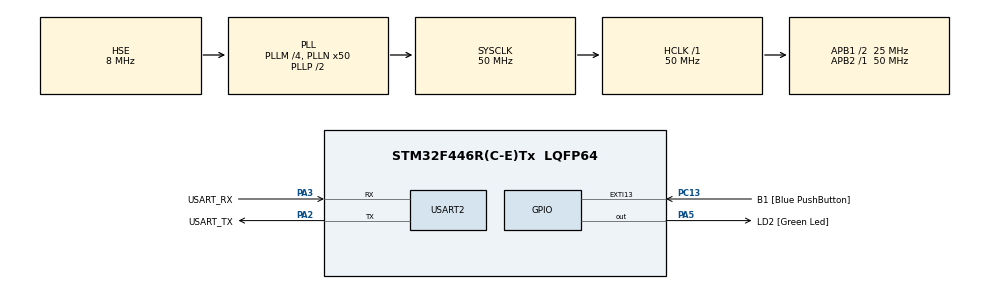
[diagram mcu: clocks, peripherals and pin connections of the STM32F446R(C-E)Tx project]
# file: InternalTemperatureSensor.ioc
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ADC1.Channel-0\#ChannelRegularConversion=ADC_CHANNEL_TEMPSENSOR
ADC1.ClockPrescaler=ADC_CLOCK_SYNC_PCLK_DIV4
ADC1.ContinuousConvMode=ENABLE
ADC1.DMAContinuousRequests=DISABLE
ADC1.NbrOfConversionFlag=1
ADC1.Rank-0\#ChannelRegularConversion=1
ADC1.SamplingTime-0\#ChannelRegularConversion=ADC_SAMPLETIME_112CYCLES
ADC1.master=1
Mcu.Family=STM32F4
Mcu.Name=STM32F446R(C-E)Tx
Mcu.Package=LQFP64
NVIC.ADC_IRQn=true\:0\:0\:false\:false\:true\:true\:true
NVIC.PriorityGroup=NVIC_PRIORITYGROUP_0
PA13.GPIO_Label=TMS
PA13.Mode=Serial_Wire
PA13.Signal=SYS_JTMS-SWDIO
PA14.GPIO_Label=TCK
PA14.Mode=Serial_Wire
PA14.Signal=SYS_JTCK-SWCLK
PA2.GPIO_Label=USART_TX
PA2.Mode=Asynchronous
PA2.Signal=USART2_TX
PA3.GPIO_Label=USART_RX
PA3.Mode=Asynchronous
PA3.Signal=USART2_RX
PA5.GPIO_Label=LD2 [Green Led]
PA5.Signal=GPIO_Output
PB3.GPIO_Label=SWO
PB3.Signal=SYS_JTDO-SWO
PC13.GPIO_Label=B1 [Blue PushButton]
PC13.GPIO_ModeDefaultEXTI=GPIO_MODE_IT_FALLING
PC13.Signal=GPXTI13
PC14-OSC32_IN.Mode=LSE-External-Oscillator
PC14-OSC32_IN.Signal=RCC_OSC32_IN
PC15-OSC32_OUT.Mode=LSE-External-Oscillator
PC15-OSC32_OUT.Signal=RCC_OSC32_OUT
PH0-OSC_IN.Mode=HSE-External-Oscillator
PH0-OSC_IN.Signal=RCC_OSC_IN
PH1-OSC_OUT.Mode=HSE-External-Oscillator
PH1-OSC_OUT.Signal=RCC_OSC_OUT
ProjectManager.HeapSize=0x200
ProjectManager.StackSize=0x400
ProjectManager.TargetToolchain=STM32CubeIDE
RCC.48MHZClocksFreq_Value=84000000
RCC.AHBFreq_Value=50000000
RCC.APB1CLKDivider=RCC_HCLK_DIV2
RCC.APB1Freq_Value=25000000
RCC.APB1TimFreq_Value=50000000
RCC.APB2Freq_Value=50000000
RCC.APB2TimFreq_Value=50000000
RCC.CortexFreq_Value=50000000
RCC.FLatency-AdvancedSettings=FLASH_LATENCY_1
RCC.HCLKFreq_Value=50000000
RCC.HSE_VALUE=8000000
RCC.HSI_VALUE=16000000
RCC.PLLM=4
RCC.PLLN=50
RCC.PLLSourceVirtual=RCC_PLLSOURCE_HSE
RCC.SYSCLKFreq_VALUE=50000000
RCC.SYSCLKSource=RCC_SYSCLKSOURCE_PLLCLK
RCC.USBFreq_Value=50000000
RCC.VCOOutputFreq_Value=100000000
USART2.VirtualMode=VM_ASYNC
VP_ADC1_TempSens_Input.Mode=IN-TempSens
board=NUCLEO-F446RE

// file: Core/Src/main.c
/* USER CODE BEGIN Header */
/**
  ******************************************************************************
  * @file           : main.c
  * @brief          : Main program body
  ******************************************************************************
  * @attention
  *
  * <h2><center>&copy; Copyright (c) 2021 STMicroelectronics.
  * All rights reserved.</center></h2>
  *
  * This software component is licensed by ST under BSD 3-Clause license,
  * the "License"; You may not use this file except in compliance with the
  * License. You may obtain a copy of the License at:
  *                        opensource.org/licenses/BSD-3-Clause
  *
  ******************************************************************************
  */
/* USER CODE END Header */
#include "main.h"

/* USER CODE BEGIN Includes */
#include "stdlib.h"
#include "string.h"
#include "stdio.h"
/* USER CODE END Includes */

ADC_HandleTypeDef hadc1;

UART_HandleTypeDef huart2;

void SystemClock_Config(void);
static void MX_GPIO_Init(void);
static void MX_USART2_UART_Init(void);
static void MX_ADC1_Init(void);

/* USER CODE BEGIN 0 */

// Parameters from STM32F446RE Datasheet
#define TEMP_AVG_SLOPE 0.0025
#define TEMP_V25 0.76
#define TEMP_VSENSE 3.3/4096

uint32_t temperature_adc_value = 0;
float temperature_in_c = 0.0;

void HAL_ADC_ConvCpltCallback(ADC_HandleTypeDef* hadc)
{
	temperature_adc_value = HAL_ADC_GetValue(hadc);
	temperature_in_c = ((TEMP_VSENSE * temperature_adc_value - TEMP_V25) / TEMP_AVG_SLOPE) + 25;
	HAL_ADC_Start_IT(&hadc1);
}

/* USER CODE END 0 */

int main(void)
{

  /* MCU Configuration--------------------------------------------------------*/

  /* Reset of all peripherals, Initializes the Flash interface and the Systick. */
  HAL_Init();

  /* Configure the system clock */
  SystemClock_Config();

  /* Initialize all configured peripherals */
  MX_GPIO_Init();
  MX_USART2_UART_Init();
  MX_ADC1_Init();

  /* Infinite loop */
  /* USER CODE BEGIN WHILE */
  char output_buffer[128] = {0};
  uint32_t print_tick = HAL_GetTick();

  HAL_ADC_Start_IT(&hadc1);
  while (1)
  {
	  if (HAL_GetTick() - print_tick >= 1000)
	  {
		  sprintf(output_buffer, "temperature: %f\r\n", temperature_in_c);
		  size_t size = strlen(output_buffer);

		  HAL_UART_Transmit(&huart2, (uint8_t*)output_buffer, size, 1000);
		  memset(output_buffer, 0, 128);

		  print_tick = HAL_GetTick();
	  }
    /* USER CODE END WHILE */

  }
}

void SystemClock_Config(void)
{
  RCC_OscInitTypeDef RCC_OscInitStruct = {0};
  RCC_ClkInitTypeDef RCC_ClkInitStruct = {0};

  /** Configure the main internal regulator output voltage
  */
  __HAL_RCC_PWR_CLK_ENABLE();
  __HAL_PWR_VOLTAGESCALING_CONFIG(PWR_REGULATOR_VOLTAGE_SCALE3);
  /** Initializes the RCC Oscillators according to the specified parameters
  * in the RCC_OscInitTypeDef structure.
  */
  RCC_OscInitStruct.OscillatorType = RCC_OSCILLATORTYPE_HSE;
  RCC_OscInitStruct.HSEState = RCC_HSE_ON;
  RCC_OscInitStruct.PLL.PLLState = RCC_PLL_ON;
  RCC_OscInitStruct.PLL.PLLSource = RCC_PLLSOURCE_HSE;
  RCC_OscInitStruct.PLL.PLLM = 4;
  RCC_OscInitStruct.PLL.PLLN = 50;
  RCC_OscInitStruct.PLL.PLLP = RCC_PLLP_DIV2;
  RCC_OscInitStruct.PLL.PLLQ = 2;
  RCC_OscInitStruct.PLL.PLLR = 2;
  if (HAL_RCC_OscConfig(&RCC_OscInitStruct) != HAL_OK)
  {
    Error_Handler();
  }
  /** Initializes the CPU, AHB and APB buses clocks
  */
  RCC_ClkInitStruct.ClockType = RCC_CLOCKTYPE_HCLK|RCC_CLOCKTYPE_SYSCLK
                              |RCC_CLOCKTYPE_PCLK1|RCC_CLOCKTYPE_PCLK2;
  RCC_ClkInitStruct.SYSCLKSource = RCC_SYSCLKSOURCE_PLLCLK;
  RCC_ClkInitStruct.AHBCLKDivider = RCC_SYSCLK_DIV1;
  RCC_ClkInitStruct.APB1CLKDivider = RCC_HCLK_DIV2;
  RCC_ClkInitStruct.APB2CLKDivider = RCC_HCLK_DIV1;

  if (HAL_RCC_ClockConfig(&RCC_ClkInitStruct, FLASH_LATENCY_1) != HAL_OK)
  {
    Error_Handler();
  }
}

static void MX_ADC1_Init(void)
{

  ADC_ChannelConfTypeDef sConfig = {0};

  /** Configure the global features of the ADC (Clock, Resolution, Data Alignment and number of conversion)
  */
  hadc1.Instance = ADC1;
  hadc1.Init.ClockPrescaler = ADC_CLOCK_SYNC_PCLK_DIV4;
  hadc1.Init.Resolution = ADC_RESOLUTION_12B;
  hadc1.Init.ScanConvMode = DISABLE;
  hadc1.Init.ContinuousConvMode = ENABLE;
  hadc1.Init.DiscontinuousConvMode = DISABLE;
  hadc1.Init.ExternalTrigConvEdge = ADC_EXTERNALTRIGCONVEDGE_NONE;
  hadc1.Init.ExternalTrigConv = ADC_SOFTWARE_START;
  hadc1.Init.DataAlign = ADC_DATAALIGN_RIGHT;
  hadc1.Init.NbrOfConversion = 1;
  hadc1.Init.DMAContinuousRequests = DISABLE;
  hadc1.Init.EOCSelection = ADC_EOC_SINGLE_CONV;
  if (HAL_ADC_Init(&hadc1) != HAL_OK)
  {
    Error_Handler();
  }
  /** Configure for the selected ADC regular channel its corresponding rank in the sequencer and its sample time.
  */
  sConfig.Channel = ADC_CHANNEL_TEMPSENSOR;
  sConfig.Rank = 1;
  sConfig.SamplingTime = ADC_SAMPLETIME_112CYCLES;
  if (HAL_ADC_ConfigChannel(&hadc1, &sConfig) != HAL_OK)
  {
    Error_Handler();
  }

}

static void MX_USART2_UART_Init(void)
{

  huart2.Instance = USART2;
  huart2.Init.BaudRate = 115200;
  huart2.Init.WordLength = UART_WORDLENGTH_8B;
  huart2.Init.StopBits = UART_STOPBITS_1;
  huart2.Init.Parity = UART_PARITY_NONE;
  huart2.Init.Mode = UART_MODE_TX_RX;
  huart2.Init.HwFlowCtl = UART_HWCONTROL_NONE;
  huart2.Init.OverSampling = UART_OVERSAMPLING_16;
  if (HAL_UART_Init(&huart2) != HAL_OK)
  {
    Error_Handler();
  }

}

static void MX_GPIO_Init(void)
{
  GPIO_InitTypeDef GPIO_InitStruct = {0};

  /* GPIO Ports Clock Enable */
  __HAL_RCC_GPIOC_CLK_ENABLE();
  __HAL_RCC_GPIOH_CLK_ENABLE();
  __HAL_RCC_GPIOA_CLK_ENABLE();
  __HAL_RCC_GPIOB_CLK_ENABLE();

  /*Configure GPIO pin Output Level */
  HAL_GPIO_WritePin(LD2_GPIO_Port, LD2_Pin, GPIO_PIN_RESET);

  /*Configure GPIO pin : B1_Pin */
  GPIO_InitStruct.Pin = B1_Pin;
  GPIO_InitStruct.Mode = GPIO_MODE_IT_FALLING;
  GPIO_InitStruct.Pull = GPIO_NOPULL;
  HAL_GPIO_Init(B1_GPIO_Port, &GPIO_InitStruct);

  /*Configure GPIO pin : LD2_Pin */
  GPIO_InitStruct.Pin = LD2_Pin;
  GPIO_InitStruct.Mode = GPIO_MODE_OUTPUT_PP;
  GPIO_InitStruct.Pull = GPIO_NOPULL;
  GPIO_InitStruct.Speed = GPIO_SPEED_FREQ_LOW;
  HAL_GPIO_Init(LD2_GPIO_Port, &GPIO_InitStruct);

}

void Error_Handler(void)
{
}

/************************ (C) COPYRIGHT STMicroelectronics *****END OF FILE****/
